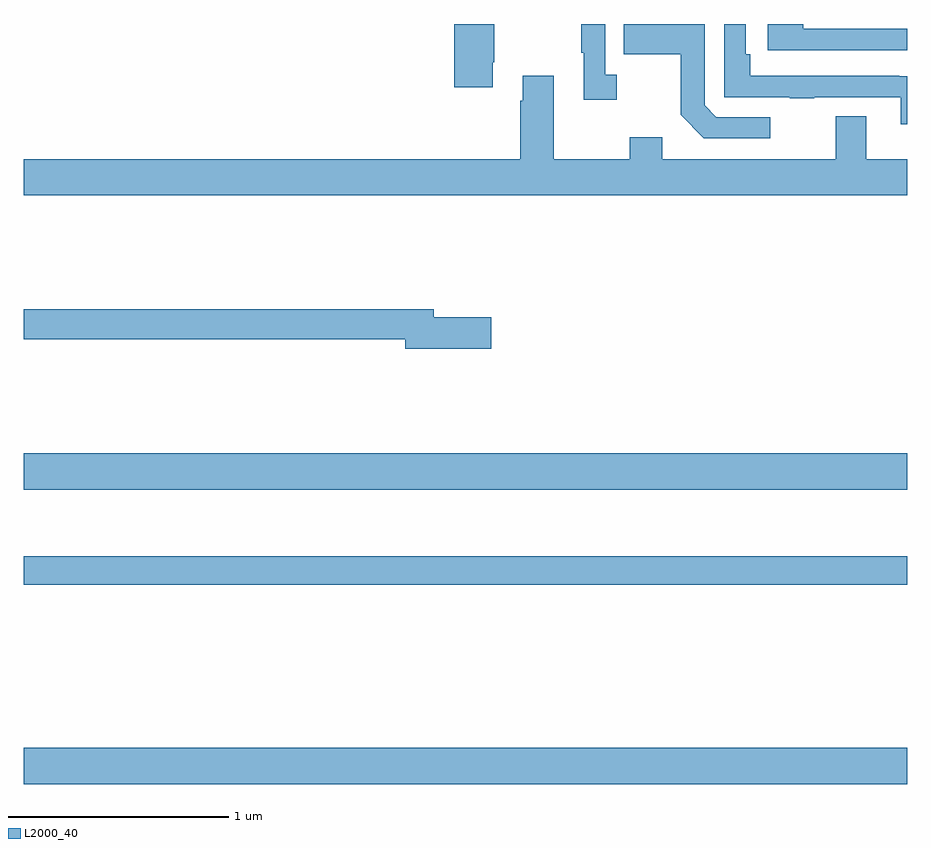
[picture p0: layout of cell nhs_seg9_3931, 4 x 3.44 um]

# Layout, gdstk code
import gdstk
lib = gdstk.Library(unit=1e-6, precision=1e-09)
def R(c, l, rs):  # rectangles x0, y0, x1, y1
    for r in rs: c.add(gdstk.rectangle(r[:2], r[2:], *l))
def P(c, l, *ps):  # polygons
    for p in ps: c.add(gdstk.Polygon(p, *l))
L2000_40 = (2000, 40)

nhs_seg9_3931 = lib.new_cell('nhs_seg9_3931')
R(nhs_seg9_3931, L2000_40, [(335,1223.06,339,1223.224), (335,1223.962,339,1224.091), (335,1224.392,339,1224.556)])
P(nhs_seg9_3931, L2000_40, [(338.38,1226.079),(338.136,1226.079),(338.082,1226.133),(338.082,1226.5),(337.717,1226.5),(337.717,1226.362),(337.974,1226.362),(337.974,1226.089),(338.079,1225.983),(338.38,1225.983)],
  [(339,1226.264),(338.963,1226.264),(338.963,1226.265),(338.288,1226.265),(338.288,1226.362),(338.268,1226.362),(338.268,1226.5),(338.172,1226.5),(338.172,1226.169),(338.467,1226.169),(338.467,1226.164),(338.579,1226.164),(338.579,1226.169),(338.969,1226.169),(338.969,1226.046),(339,1226.046)],
  [(339,1226.478),(338.528,1226.478),(338.528,1226.5),(338.367,1226.5),(338.367,1226.382),(339,1226.382)],
  [(337.123,1226.326),(337.131,1226.326),(337.131,1226.5),(336.95,1226.5),(336.95,1226.214),(337.123,1226.214)],
  [(337.684,1226.27),(337.632,1226.27),(337.632,1226.5),(337.524,1226.5),(337.524,1226.369),(337.535,1226.369),(337.535,1226.157),(337.684,1226.157)],
  [(339,1225.888),(338.815,1225.888),(338.815,1226.083),(338.675,1226.083),(338.675,1225.888),(337.891,1225.888),(337.891,1225.987),(337.744,1225.987),(337.744,1225.888),(337.399,1225.888),(337.399,1226.266),(337.259,1226.266),(337.259,1226.153),(337.247,1226.153),(337.247,1225.888),(335,1225.888),(335,1225.724),(339,1225.724)],
  [(337.117,1225.172),(336.856,1225.172),(336.856,1225.208),(335,1225.208),(335,1225.072),(336.728,1225.072),(336.728,1225.03),(337.117,1225.03)])

lib.write_gds('nhs_seg9_3931.gds')
